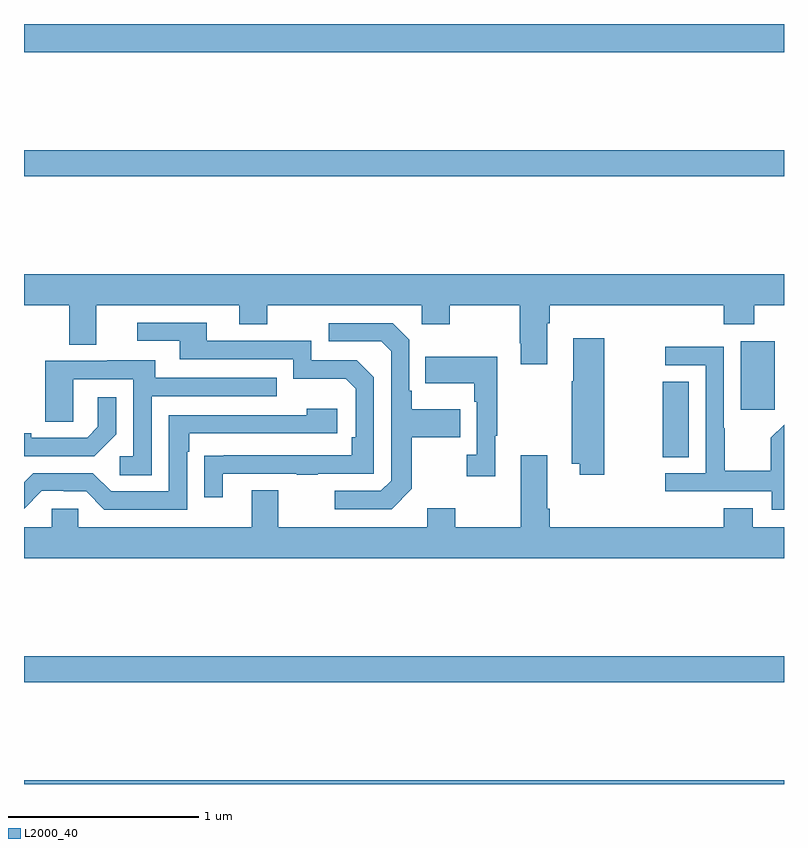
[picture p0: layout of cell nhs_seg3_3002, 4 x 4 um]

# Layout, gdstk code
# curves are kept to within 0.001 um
import gdstk
lib = gdstk.Library(unit=1e-6, precision=1e-09)
def R(c, l, rs):  # rectangles x0, y0, x1, y1
    for r in rs: c.add(gdstk.rectangle(r[:2], r[2:], *l))
def P(c, l, *ps):  # polygons
    for p in ps: c.add(gdstk.Polygon(p, *l))
L2000_40 = (2000, 40)

nhs_seg3_3002 = lib.new_cell('nhs_seg3_3002')
R(nhs_seg3_3002, L2000_40, [(267,694.4,271,694.42), (267,694.936,271,695.072), (270.361,696.121,270.499,696.518), (270.773,696.369,270.952,696.73), (267,697.6,271,697.736), (267,698.252,271,698.4)])
P(nhs_seg3_3002, L2000_40, [(269.755,696.824),(269.768,696.824),(269.768,696.92),(270.683,696.92),(270.683,696.821),(270.843,696.821),(270.843,696.92),(271,696.92),(271,697.084),(267,697.084),(267,696.92),(267.239,696.92),(267.239,696.712),(267.379,696.712),(267.379,696.92),(268.133,696.92),(268.133,696.821),(268.281,696.821),(268.281,696.92),(269.094,696.92),(269.094,696.821),(269.241,696.821),(269.241,696.92),(269.608,696.92),(269.608,696.721),(269.615,696.721),(269.615,696.609),(269.755,696.609)],
  [(268.045,696.033),(268.435,696.033),(268.435,696.028),(268.547,696.028),(268.547,696.033),(268.842,696.033),(268.842,696.54),(268.752,696.63),(268.512,696.63),(268.512,696.732),(267.961,696.732),(267.961,696.828),(267.597,696.828),(267.597,696.732),(267.821,696.732),(267.821,696.636),(268.416,696.636),(268.416,696.533),(268.693,696.533),(268.746,696.48),(268.746,696.226),(268.726,696.226),(268.726,696.129),(267.949,696.128),(267.949,695.91),(268.045,695.91)],
  [(269.041,695.953),(269.041,696.226),(269.297,696.226),(269.297,696.373),(269.041,696.373),(269.041,696.469),(269.028,696.469),(269.028,696.738),(268.941,696.825),(268.605,696.825),(268.605,696.729),(268.881,696.729),(268.932,696.678),(268.932,695.997),(268.878,695.943),(268.635,695.943),(268.635,695.847),(268.935,695.847)],
  [(270.054,696.745),(269.891,696.745),(269.891,696.521),(269.884,696.521),(269.884,696.086),(269.924,696.086),(269.924,696.027),(270.054,696.027)],
  [(271,696.292),(270.931,696.223),(270.931,696.049),(270.687,696.049),(270.687,696.272),(270.684,696.272),(270.684,696.702),(270.375,696.702),(270.375,696.603),(270.588,696.603),(270.588,696.036),(270.375,696.036),(270.375,695.94),(270.936,695.94),(270.936,695.843),(271,695.843)],
  [(269.479,696.233),(269.491,696.233),(269.491,696.649),(269.113,696.649),(269.113,696.509),(269.37,696.509),(269.37,696.413),(269.382,696.413),(269.382,696.134),(269.331,696.134),(269.331,696.021),(269.479,696.021)],
  [(267.672,696.441),(268.331,696.441),(268.331,696.537),(267.691,696.537),(267.691,696.631),(267.437,696.631),(267.437,696.627),(267.113,696.627),(267.113,696.307),(267.258,696.307),(267.258,696.531),(267.576,696.531),(267.576,696.126),(267.504,696.126),(267.504,696.025),(267.672,696.025)],
  [(267.486,696.242),(267.486,696.436),(267.389,696.436),(267.389,696.279),(267.332,696.222),(267.037,696.222),(267.037,696.245),(267,696.245),(267,696.126),(267.37,696.126)],
  [(267.858,696.149),(267.871,696.149),(267.871,696.246),(268.648,696.246),(268.648,696.376),(268.487,696.376),(268.487,696.342),(267.762,696.342),(267.762,695.94),(267.459,695.94),(267.363,696.036),(267.048,696.036),(267,695.988),(267,695.85),(267.093,695.943),(267.209,695.943),(267.209,695.94),(267.327,695.94),(267.423,695.844),(267.858,695.844)],
  [(271,695.752),(270.835,695.752),(270.835,695.851),(270.683,695.851),(270.683,695.752),(269.768,695.752),(269.768,695.848),(269.755,695.848),(269.755,696.13),(269.615,696.13),(269.615,695.752),(269.271,695.752),(269.271,695.851),(269.123,695.851),(269.123,695.752),(268.339,695.752),(268.339,695.947),(268.199,695.947),(268.199,695.752),(267.285,695.752),(267.285,695.85),(267.147,695.85),(267.147,695.752),(267,695.752),(267,695.588),(271,695.588)])

lib.write_gds('nhs_seg3_3002.gds')
